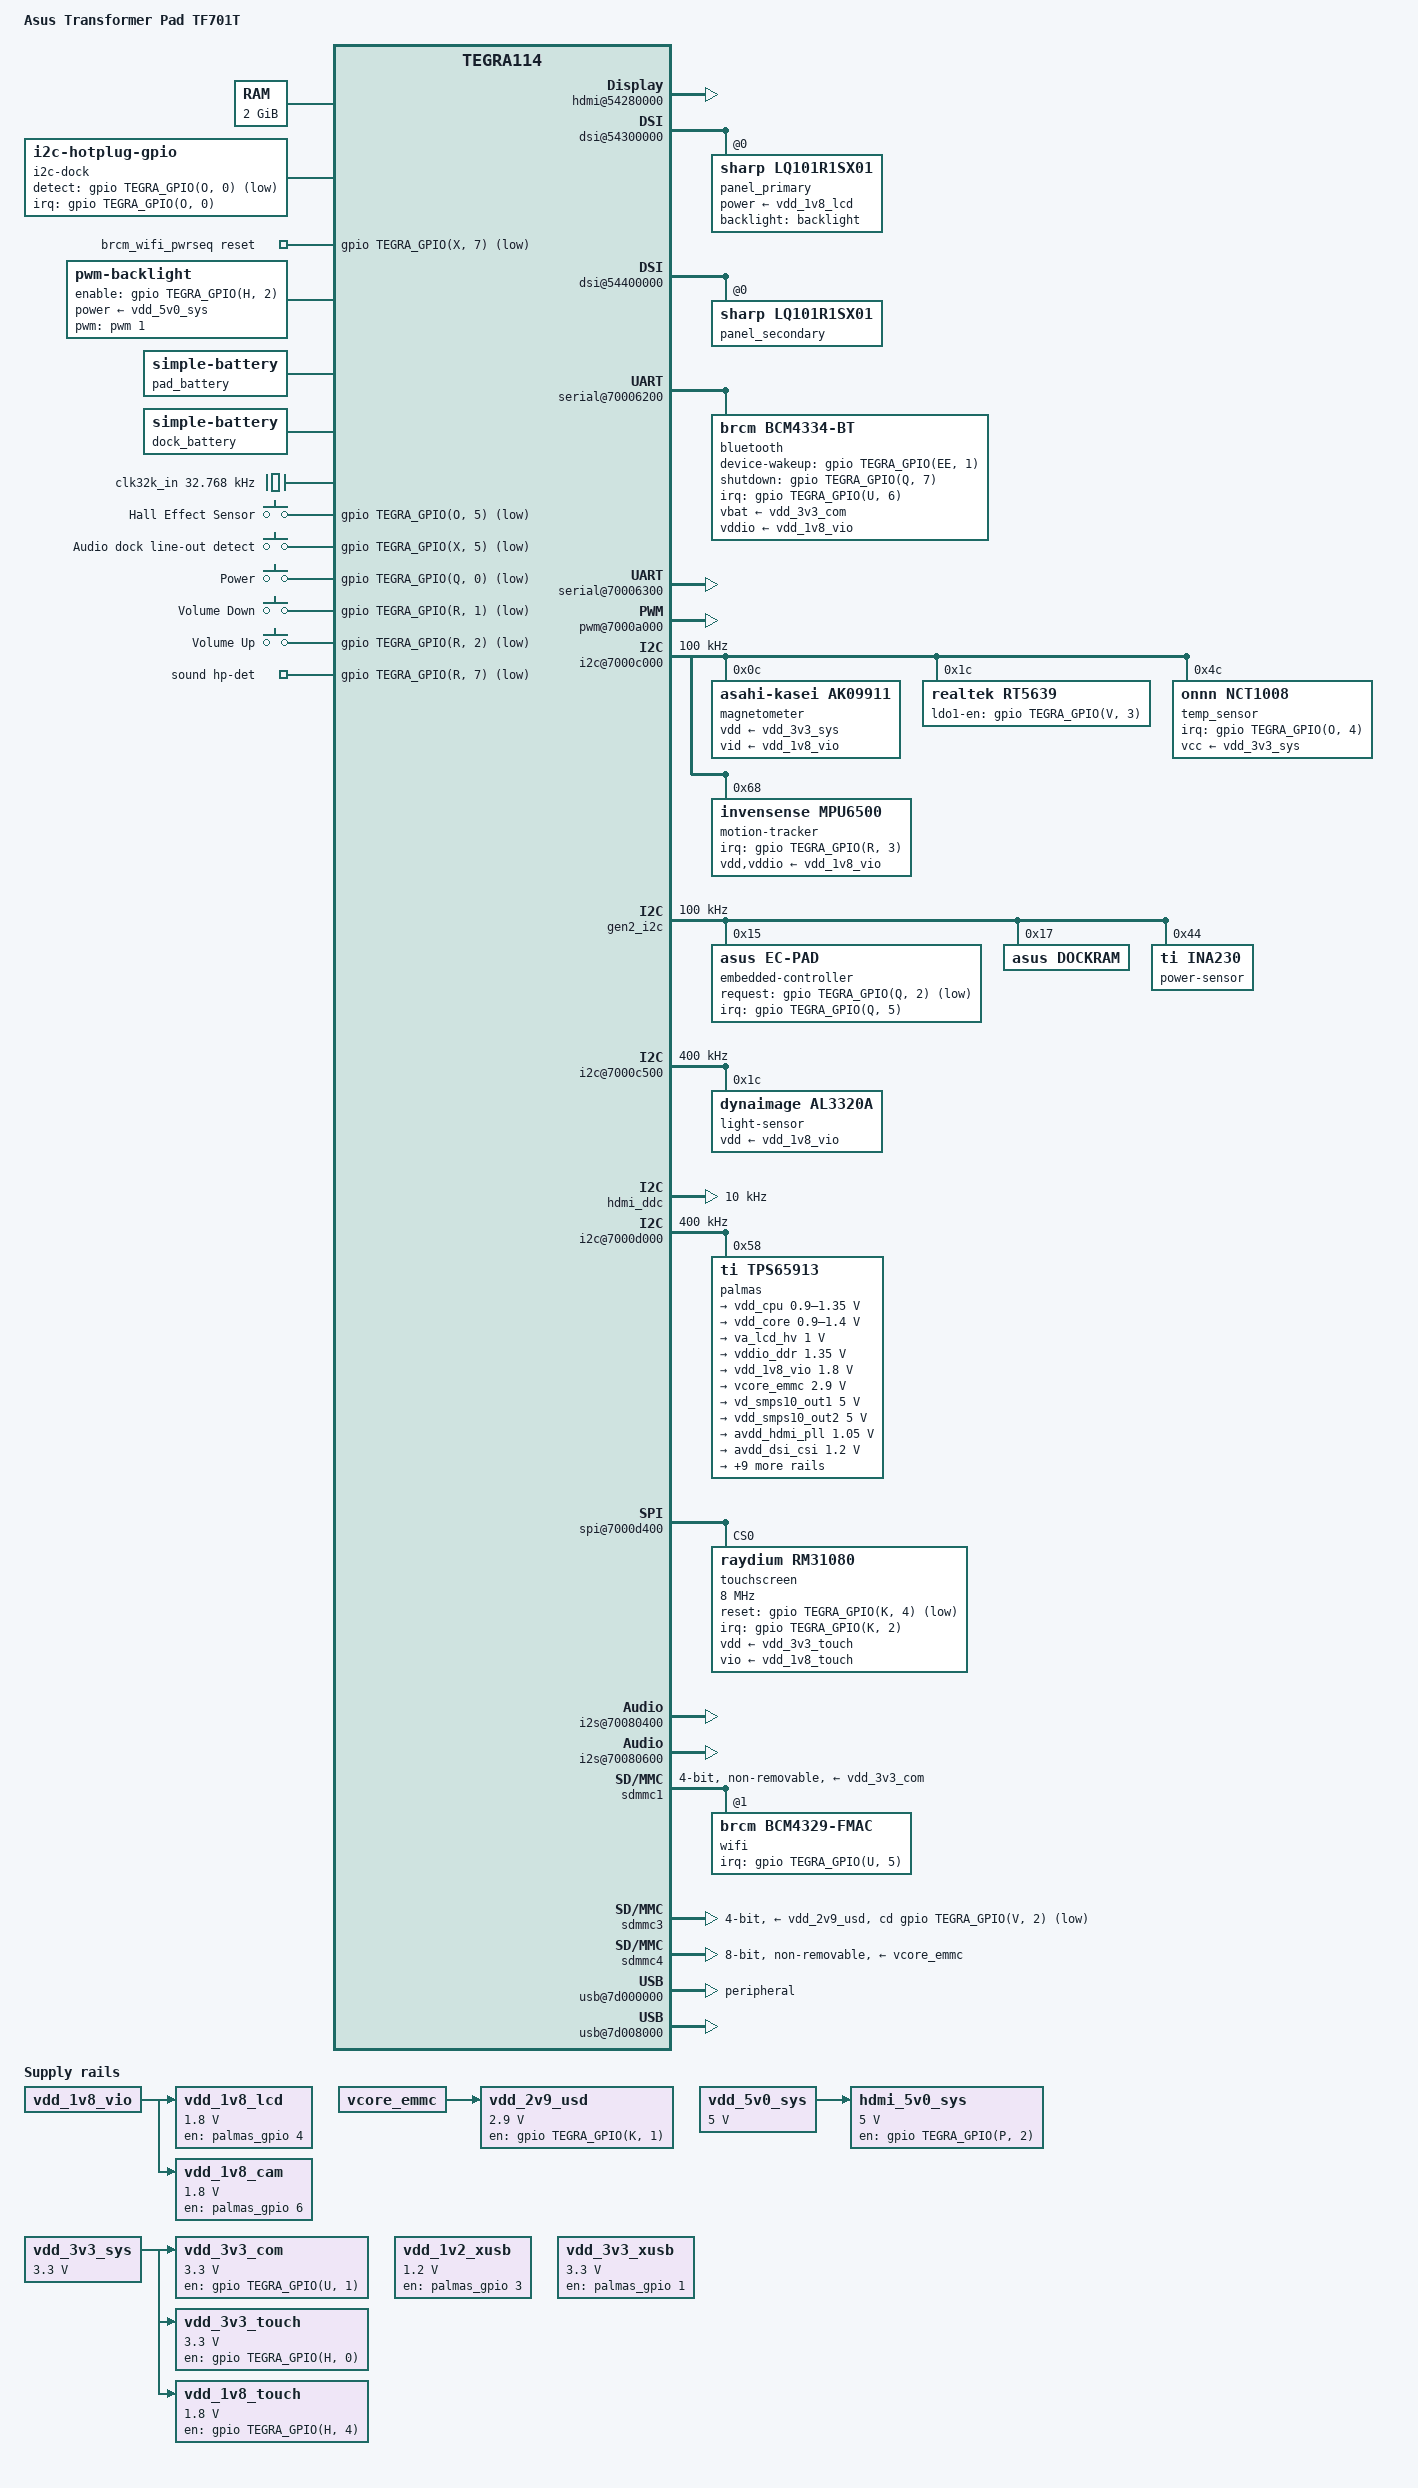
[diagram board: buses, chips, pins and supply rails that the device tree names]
// SPDX-License-Identifier: GPL-2.0

/dts-v1/;

#include <dt-bindings/input/gpio-keys.h>
#include <dt-bindings/input/input.h>

#include "tegra114.dtsi"

/ {
	model = "Asus Transformer Pad TF701T";
	compatible = "asus,tf701t", "nvidia,tegra114";
	chassis-type = "convertible";

	aliases {
		mmc0 = "/mmc@78000600"; /* eMMC */
		mmc1 = "/mmc@78000400"; /* uSD slot */
		mmc2 = "/mmc@78000000"; /* WiFi */

		rtc0 = &palmas;
		rtc1 = "/rtc@7000e000";

		serial0 = &uartd; /* Console */
		serial1 = &uartc; /* Bluetooth */
		serial2 = &uartb; /* GPS */
	};

	/*
	 * The decompressor and also some bootloaders rely on a
	 * pre-existing /chosen node to be available to insert the
	 * command line and merge other ATAGS info.
	 */
	chosen {};

	firmware {
		trusted-foundations {
			compatible = "tlm,trusted-foundations";
			tlm,version-major = <2>;
			tlm,version-minor = <8>;
		};
	};

	memory@80000000 {
		reg = <0x80000000 0x80000000>;
	};

	reserved-memory {
		#address-cells = <1>;
		#size-cells = <1>;
		ranges;

		linux,cma@80000000 {
			compatible = "shared-dma-pool";
			alloc-ranges = <0x80000000 0x30000000>;
			size = <0x10000000>;
			linux,cma-default;
			reusable;
		};

		trustzone@bfe00000 {
			reg = <0xbfe00000 0x200000>;
			no-map;
		};
	};

	host1x@50000000 {
		hdmi@54280000 {
			status = "okay";

			hdmi-supply = <&hdmi_5v0_sys>;
			pll-supply = <&avdd_hdmi_pll>;
			vdd-supply = <&avdd_hdmi>;

			nvidia,ddc-i2c-bus = <&hdmi_ddc>;
			nvidia,hpd-gpio =
				<&gpio TEGRA_GPIO(N, 7) GPIO_ACTIVE_HIGH>;
		};

		dsi@54300000 {
			status = "okay";

			avdd-dsi-csi-supply = <&avdd_dsi_csi>;

			nvidia,ganged-mode = <&dsib>;

			panel_primary: panel@0 {
				compatible = "sharp,lq101r1sx01";
				reg = <0>;

				link2 = <&panel_secondary>;

				power-supply = <&vdd_1v8_lcd>;
				backlight = <&backlight>;
			};
		};

		dsi@54400000 {
			status = "okay";

			avdd-dsi-csi-supply = <&avdd_dsi_csi>;

			panel_secondary: panel@0 {
				compatible = "sharp,lq101r1sx01";
				reg = <0>;
			};
		};
	};

	vde@6001a000 {
		assigned-clocks = <&tegra_car TEGRA114_CLK_VDE>;
		assigned-clock-parents = <&tegra_car TEGRA114_CLK_PLL_P>;
		assigned-clock-rates = <408000000>;
	};

	pinmux@70000868 {
		pinctrl-names = "default";
		pinctrl-0 = <&state_default>;

		state_default: pinmux {
			/* WLAN SDIO pinmux */
			sdmmc1_clk {
				nvidia,pins = "sdmmc1_clk_pz0";
				nvidia,function = "sdmmc1";
				nvidia,pull = <TEGRA_PIN_PULL_NONE>;
				nvidia,tristate = <TEGRA_PIN_DISABLE>;
				nvidia,enable-input = <TEGRA_PIN_ENABLE>;
			};
			sdmmc1_cmd {
				nvidia,pins = "sdmmc1_cmd_pz1",
						"sdmmc1_dat0_py7",
						"sdmmc1_dat1_py6",
						"sdmmc1_dat2_py5",
						"sdmmc1_dat3_py4";
				nvidia,function = "sdmmc1";
				nvidia,pull = <TEGRA_PIN_PULL_UP>;
				nvidia,tristate = <TEGRA_PIN_DISABLE>;
				nvidia,enable-input = <TEGRA_PIN_ENABLE>;
			};
			wlan_power {
				nvidia,pins = "clk2_req_pcc5";
				nvidia,function = "rsvd2";
				nvidia,pull = <TEGRA_PIN_PULL_NONE>;
				nvidia,tristate = <TEGRA_PIN_DISABLE>;
				nvidia,enable-input = <TEGRA_PIN_DISABLE>;
			};
			wlan_reset {
				nvidia,pins = "gpio_x7_aud_px7";
				nvidia,function = "rsvd1";
				nvidia,pull = <TEGRA_PIN_PULL_NONE>;
				nvidia,tristate = <TEGRA_PIN_DISABLE>;
				nvidia,enable-input = <TEGRA_PIN_DISABLE>;
			};
			wlan_host_wake {
				nvidia,pins = "pu5";
				nvidia,function = "pwm2";
				nvidia,pull = <TEGRA_PIN_PULL_NONE>;
				nvidia,tristate = <TEGRA_PIN_DISABLE>;
				nvidia,enable-input = <TEGRA_PIN_ENABLE>;
			};
			wlan_3v3_com {
				nvidia,pins = "pu1";
				nvidia,function = "rsvd1";
				nvidia,pull = <TEGRA_PIN_PULL_NONE>;
				nvidia,tristate = <TEGRA_PIN_DISABLE>;
				nvidia,enable-input = <TEGRA_PIN_DISABLE>;
			};

			/* UART-A pinmux */
			uarta_cts {
				nvidia,pins = "kb_row10_ps2";
				nvidia,function = "uarta";
				nvidia,pull = <TEGRA_PIN_PULL_DOWN>;
				nvidia,tristate = <TEGRA_PIN_DISABLE>;
				nvidia,enable-input = <TEGRA_PIN_ENABLE>;
			};
			uarta_rts {
				nvidia,pins = "kb_row9_ps1";
				nvidia,function = "uarta";
				nvidia,pull = <TEGRA_PIN_PULL_NONE>;
				nvidia,tristate = <TEGRA_PIN_DISABLE>;
				nvidia,enable-input = <TEGRA_PIN_DISABLE>;
			};

			/* GNSS UART-B pinmux */
			uartb_cts {
				nvidia,pins = "uart2_cts_n_pj5";
				nvidia,function = "uartb";
				nvidia,pull = <TEGRA_PIN_PULL_UP>;
				nvidia,tristate = <TEGRA_PIN_DISABLE>;
				nvidia,enable-input = <TEGRA_PIN_ENABLE>;
			};
			uartb_rts {
				nvidia,pins = "uart2_rts_n_pj6";
				nvidia,function = "uartb";
				nvidia,pull = <TEGRA_PIN_PULL_NONE>;
				nvidia,tristate = <TEGRA_PIN_DISABLE>;
				nvidia,enable-input = <TEGRA_PIN_DISABLE>;
			};
			uartb_rxd {
				nvidia,pins = "uart2_rxd_pc3";
				nvidia,function = "irda";
				nvidia,pull = <TEGRA_PIN_PULL_UP>;
				nvidia,tristate = <TEGRA_PIN_DISABLE>;
				nvidia,enable-input = <TEGRA_PIN_ENABLE>;
			};
			uartb_txd {
				nvidia,pins = "uart2_txd_pc2";
				nvidia,function = "irda";
				nvidia,pull = <TEGRA_PIN_PULL_NONE>;
				nvidia,tristate = <TEGRA_PIN_DISABLE>;
				nvidia,enable-input = <TEGRA_PIN_DISABLE>;
			};

			/* Bluetooth UART-C pinmux */
			uartc_cts_rxd {
				nvidia,pins = "uart3_cts_n_pa1",
						"uart3_rxd_pw7";
				nvidia,function = "uartc";
				nvidia,pull = <TEGRA_PIN_PULL_UP>;
				nvidia,tristate = <TEGRA_PIN_DISABLE>;
				nvidia,enable-input = <TEGRA_PIN_ENABLE>;
			};
			uartc_rts_txd {
				nvidia,pins = "uart3_rts_n_pc0",
						"uart3_txd_pw6";
				nvidia,function = "uartc";
				nvidia,pull = <TEGRA_PIN_PULL_NONE>;
				nvidia,tristate = <TEGRA_PIN_DISABLE>;
				nvidia,enable-input = <TEGRA_PIN_DISABLE>;
			};
			bt_shutdown {
				nvidia,pins = "kb_col6_pq6",
						"kb_col7_pq7";
				nvidia,function = "rsvd2";
				nvidia,pull = <TEGRA_PIN_PULL_NONE>;
				nvidia,tristate = <TEGRA_PIN_DISABLE>;
				nvidia,enable-input = <TEGRA_PIN_DISABLE>;
			};
			bt_dev_wake {
				nvidia,pins = "clk3_req_pee1";
				nvidia,function = "rsvd2";
				nvidia,pull = <TEGRA_PIN_PULL_NONE>;
				nvidia,tristate = <TEGRA_PIN_DISABLE>;
				nvidia,enable-input = <TEGRA_PIN_DISABLE>;
			};
			bt_host_wake {
				nvidia,pins = "pu6";
				nvidia,function = "pwm3";
				nvidia,pull = <TEGRA_PIN_PULL_NONE>;
				nvidia,tristate = <TEGRA_PIN_DISABLE>;
				nvidia,enable-input = <TEGRA_PIN_ENABLE>;
			};
			bt_pcm_dap4_out {
				nvidia,pins = "dap4_fs_pp4",
						"dap4_dout_pp6",
						"dap4_sclk_pp7";
				nvidia,function = "i2s3";
				nvidia,pull = <TEGRA_PIN_PULL_NONE>;
				nvidia,tristate = <TEGRA_PIN_DISABLE>;
				nvidia,enable-input = <TEGRA_PIN_DISABLE>;
			};
			bt_pcm_dap4_in {
				nvidia,pins = "dap4_din_pp5";
				nvidia,function = "i2s3";
				nvidia,pull = <TEGRA_PIN_PULL_NONE>;
				nvidia,tristate = <TEGRA_PIN_DISABLE>;
				nvidia,enable-input = <TEGRA_PIN_ENABLE>;
			};

			/* UART-D pinmux */
			uartd_cts {
				nvidia,pins = "gmi_a17_pb0";
				nvidia,function = "uartd";
				nvidia,pull = <TEGRA_PIN_PULL_NONE>;
				nvidia,tristate = <TEGRA_PIN_DISABLE>;
				nvidia,enable-input = <TEGRA_PIN_ENABLE>;
			};
			uartd_rts {
				nvidia,pins = "gmi_a16_pj7",
						"gmi_a19_pk7";
				nvidia,function = "uartd";
				nvidia,pull = <TEGRA_PIN_PULL_NONE>;
				nvidia,tristate = <TEGRA_PIN_DISABLE>;
				nvidia,enable-input = <TEGRA_PIN_DISABLE>;
			};

			/* MicroSD pinmux */
			sdmmc3_clk {
				nvidia,pins = "sdmmc3_clk_pa6";
				nvidia,function = "sdmmc3";
				nvidia,pull = <TEGRA_PIN_PULL_NONE>;
				nvidia,tristate = <TEGRA_PIN_DISABLE>;
				nvidia,enable-input = <TEGRA_PIN_ENABLE>;
			};
			sdmmc3_data {
				nvidia,pins = "sdmmc3_cmd_pa7",
						"sdmmc3_dat0_pb7",
						"sdmmc3_dat1_pb6",
						"sdmmc3_dat2_pb5",
						"sdmmc3_dat3_pb4",
						"kb_col4_pq4",
						"sdmmc3_cd_n_pv2",
						"sdmmc3_clk_lb_out_pee4",
						"sdmmc3_clk_lb_in_pee5";
				nvidia,function = "sdmmc3";
				nvidia,pull = <TEGRA_PIN_PULL_UP>;
				nvidia,tristate = <TEGRA_PIN_DISABLE>;
				nvidia,enable-input = <TEGRA_PIN_ENABLE>;
			};
			microsd_pwr {
				nvidia,pins = "gmi_clk_pk1";
				nvidia,function = "gmi";
				nvidia,pull = <TEGRA_PIN_PULL_NONE>;
				nvidia,tristate = <TEGRA_PIN_DISABLE>;
				nvidia,enable-input = <TEGRA_PIN_DISABLE>;
			};

			/* EMMC pinmux */
			sdmmc4_clk_cmd {
				nvidia,pins = "sdmmc4_clk_pcc4";
				nvidia,function = "sdmmc4";
				nvidia,pull = <TEGRA_PIN_PULL_NONE>;
				nvidia,tristate = <TEGRA_PIN_DISABLE>;
				nvidia,enable-input = <TEGRA_PIN_ENABLE>;
			};
			sdmmc4_data {
				nvidia,pins = "sdmmc4_cmd_pt7",
						"sdmmc4_dat0_paa0",
						"sdmmc4_dat1_paa1",
						"sdmmc4_dat2_paa2",
						"sdmmc4_dat3_paa3",
						"sdmmc4_dat4_paa4",
						"sdmmc4_dat5_paa5",
						"sdmmc4_dat6_paa6",
						"sdmmc4_dat7_paa7";
				nvidia,function = "sdmmc4";
				nvidia,pull = <TEGRA_PIN_PULL_UP>;
				nvidia,tristate = <TEGRA_PIN_DISABLE>;
				nvidia,enable-input = <TEGRA_PIN_ENABLE>;
			};

			/* I2C pinmux */
			gen1_i2c {
				nvidia,pins = "gen1_i2c_scl_pc4",
						"gen1_i2c_sda_pc5";
				nvidia,function = "i2c1";
				nvidia,pull = <TEGRA_PIN_PULL_NONE>;
				nvidia,tristate = <TEGRA_PIN_DISABLE>;
				nvidia,enable-input = <TEGRA_PIN_ENABLE>;
				nvidia,open-drain = <TEGRA_PIN_ENABLE>;
				nvidia,lock = <TEGRA_PIN_DISABLE>;
			};

			gen2_i2c {
				nvidia,pins = "gen2_i2c_scl_pt5",
						"gen2_i2c_sda_pt6";
				nvidia,function = "i2c2";
				nvidia,pull = <TEGRA_PIN_PULL_NONE>;
				nvidia,tristate = <TEGRA_PIN_DISABLE>;
				nvidia,enable-input = <TEGRA_PIN_ENABLE>;
				nvidia,open-drain = <TEGRA_PIN_ENABLE>;
				nvidia,lock = <TEGRA_PIN_DISABLE>;
			};

			cam_i2c {
				nvidia,pins = "cam_i2c_scl_pbb1",
						"cam_i2c_sda_pbb2";
				nvidia,function = "i2c3";
				nvidia,pull = <TEGRA_PIN_PULL_NONE>;
				nvidia,tristate = <TEGRA_PIN_DISABLE>;
				nvidia,enable-input = <TEGRA_PIN_ENABLE>;
				nvidia,open-drain = <TEGRA_PIN_ENABLE>;
				nvidia,lock = <TEGRA_PIN_DISABLE>;
			};

			ddc_i2c {
				nvidia,pins = "ddc_scl_pv4",
						"ddc_sda_pv5";
				nvidia,function = "i2c4";
				nvidia,pull = <TEGRA_PIN_PULL_NONE>;
				nvidia,tristate = <TEGRA_PIN_DISABLE>;
				nvidia,enable-input = <TEGRA_PIN_ENABLE>;
				nvidia,lock = <TEGRA_PIN_DISABLE>;
			};

			pwr_i2c {
				nvidia,pins = "pwr_i2c_scl_pz6",
						"pwr_i2c_sda_pz7";
				nvidia,function = "i2cpwr";
				nvidia,pull = <TEGRA_PIN_PULL_NONE>;
				nvidia,tristate = <TEGRA_PIN_DISABLE>;
				nvidia,enable-input = <TEGRA_PIN_ENABLE>;
				nvidia,open-drain = <TEGRA_PIN_ENABLE>;
				nvidia,lock = <TEGRA_PIN_DISABLE>;
			};

			/* SPI1 pinmux */
			spi1_out {
				nvidia,pins = "ulpi_clk_py0",
						"ulpi_nxt_py2",
						"ulpi_stp_py3";
				nvidia,function = "spi1";
				nvidia,pull = <TEGRA_PIN_PULL_NONE>;
				nvidia,tristate = <TEGRA_PIN_DISABLE>;
				nvidia,enable-input = <TEGRA_PIN_DISABLE>;
			};
			spi1_in {
				nvidia,pins = "ulpi_dir_py1";
				nvidia,function = "spi1";
				nvidia,pull = <TEGRA_PIN_PULL_NONE>;
				nvidia,tristate = <TEGRA_PIN_DISABLE>;
				nvidia,enable-input = <TEGRA_PIN_ENABLE>;
			};

			/* SPI2 pinmux */
			spi2 {
				nvidia,pins = "ulpi_data4_po5",
						"ulpi_data7_po0";
				nvidia,function = "spi2";
				nvidia,pull = <TEGRA_PIN_PULL_UP>;
				nvidia,tristate = <TEGRA_PIN_DISABLE>;
				nvidia,enable-input = <TEGRA_PIN_ENABLE>;
			};

			/* SPI4 pinmux */
			spi4_out {
				nvidia,pins = "gmi_ad6_pg6",
						"gmi_wr_n_pi0";
				nvidia,function = "spi4";
				nvidia,pull = <TEGRA_PIN_PULL_NONE>;
				nvidia,tristate = <TEGRA_PIN_DISABLE>;
				nvidia,enable-input = <TEGRA_PIN_DISABLE>;
			};
			spi4_in {
				nvidia,pins = "gmi_ad5_pg5",
						"gmi_ad7_pg7";
				nvidia,function = "spi4";
				nvidia,pull = <TEGRA_PIN_PULL_NONE>;
				nvidia,tristate = <TEGRA_PIN_DISABLE>;
				nvidia,enable-input = <TEGRA_PIN_ENABLE>;
			};

			/* GPIO keys pinmux */
			hall_switch {
				nvidia,pins = "ulpi_data4_po5";
				nvidia,function = "spi2";
				nvidia,pull = <TEGRA_PIN_PULL_UP>;
				nvidia,tristate = <TEGRA_PIN_DISABLE>;
				nvidia,enable-input = <TEGRA_PIN_ENABLE>;
			};
			lineout_switch {
				nvidia,pins = "gpio_x5_aud_px5";
				nvidia,function = "rsvd1";
				nvidia,pull = <TEGRA_PIN_PULL_UP>;
				nvidia,tristate = <TEGRA_PIN_DISABLE>;
				nvidia,enable-input = <TEGRA_PIN_ENABLE>;
			};
			power_key {
				nvidia,pins = "kb_col0_pq0";
				nvidia,function = "kbc";
				nvidia,pull = <TEGRA_PIN_PULL_UP>;
				nvidia,tristate = <TEGRA_PIN_ENABLE>;
				nvidia,enable-input = <TEGRA_PIN_ENABLE>;
			};
			volume_keys {
				nvidia,pins = "kb_row1_pr1",
						"kb_row2_pr2";
				nvidia,function = "rsvd2";
				nvidia,pull = <TEGRA_PIN_PULL_UP>;
				nvidia,tristate = <TEGRA_PIN_ENABLE>;
				nvidia,enable-input = <TEGRA_PIN_ENABLE>;
			};

			/* Sensors pinmux */
			nct_irq {
				nvidia,pins = "ulpi_data3_po4";
				nvidia,function = "ulpi";
				nvidia,pull = <TEGRA_PIN_PULL_UP>;
				nvidia,tristate = <TEGRA_PIN_DISABLE>;
				nvidia,enable-input = <TEGRA_PIN_ENABLE>;
			};
			mpu_irq {
				nvidia,pins = "kb_row3_pr3";
				nvidia,function = "rsvd3";
				nvidia,pull = <TEGRA_PIN_PULL_DOWN>;
				nvidia,tristate = <TEGRA_PIN_DISABLE>;
				nvidia,enable-input = <TEGRA_PIN_ENABLE>;
			};

			/* HDMI pinmux */
			hdmi_hpd {
				nvidia,pins = "hdmi_int_pn7";
				nvidia,function = "rsvd1";
				nvidia,pull = <TEGRA_PIN_PULL_DOWN>;
				nvidia,tristate = <TEGRA_PIN_DISABLE>;
				nvidia,enable-input = <TEGRA_PIN_ENABLE>;
			};
			hdmi_en {
				nvidia,pins = "dap3_dout_pp2";
				nvidia,function = "i2s2";
				nvidia,pull = <TEGRA_PIN_PULL_NONE>;
				nvidia,tristate = <TEGRA_PIN_DISABLE>;
				nvidia,enable-input = <TEGRA_PIN_DISABLE>;
			};
			hdmi_cec {
				nvidia,pins = "hdmi_cec_pee3";
				nvidia,function = "cec";
				nvidia,pull = <TEGRA_PIN_PULL_NONE>;
				nvidia,tristate = <TEGRA_PIN_DISABLE>;
				nvidia,enable-input = <TEGRA_PIN_ENABLE>;
			};

			/* LED pinmux */
			backlight_pwm {
				nvidia,pins = "gmi_ad9_ph1";
				nvidia,function = "pwm1";
				nvidia,pull = <TEGRA_PIN_PULL_NONE>;
				nvidia,tristate = <TEGRA_PIN_DISABLE>;
				nvidia,enable-input = <TEGRA_PIN_DISABLE>;
			};
			backlight_en {
				nvidia,pins = "gmi_ad10_ph2";
				nvidia,function = "gmi";
				nvidia,pull = <TEGRA_PIN_PULL_NONE>;
				nvidia,tristate = <TEGRA_PIN_DISABLE>;
				nvidia,enable-input = <TEGRA_PIN_DISABLE>;
			};

			/* Touchscreen pinmux */
			touch_irq {
				nvidia,pins = "gmi_cs4_n_pk2";
				nvidia,function = "gmi";
				nvidia,pull = <TEGRA_PIN_PULL_NONE>;
				nvidia,tristate = <TEGRA_PIN_DISABLE>;
				nvidia,enable-input = <TEGRA_PIN_ENABLE>;
			};
			touch_rst {
				nvidia,pins = "gmi_cs3_n_pk4";
				nvidia,function = "gmi";
				nvidia,pull = <TEGRA_PIN_PULL_NONE>;
				nvidia,tristate = <TEGRA_PIN_DISABLE>;
				nvidia,enable-input = <TEGRA_PIN_DISABLE>;
			};
			touch_pwr {
				nvidia,pins = "gmi_ad8_ph0";
				nvidia,function = "gmi";
				nvidia,pull = <TEGRA_PIN_PULL_NONE>;
				nvidia,tristate = <TEGRA_PIN_DISABLE>;
				nvidia,enable-input = <TEGRA_PIN_DISABLE>;
			};
			touch_vio {
				nvidia,pins = "gmi_ad12_ph4";
				nvidia,function = "rsvd4";
				nvidia,pull = <TEGRA_PIN_PULL_NONE>;
				nvidia,tristate = <TEGRA_PIN_DISABLE>;
				nvidia,enable-input = <TEGRA_PIN_DISABLE>;
			};

			/* AUDIO pinmux */
			audio_ldo1 {
				nvidia,pins = "sdmmc1_wp_n_pv3";
				nvidia,function = "sdmmc1";
				nvidia,pull = <TEGRA_PIN_PULL_NONE>;
				nvidia,tristate = <TEGRA_PIN_DISABLE>;
				nvidia,enable-input = <TEGRA_PIN_DISABLE>;
			};
			hp_detect {
				nvidia,pins = "kb_row7_pr7";
				nvidia,function = "rsvd2";
				nvidia,pull = <TEGRA_PIN_PULL_UP>;
				nvidia,tristate = <TEGRA_PIN_DISABLE>;
				nvidia,enable-input = <TEGRA_PIN_ENABLE>;
			};
			dap_i2s0_in {
				nvidia,pins = "dap1_din_pn1";
				nvidia,function = "i2s0";
				nvidia,pull = <TEGRA_PIN_PULL_NONE>;
				nvidia,tristate = <TEGRA_PIN_DISABLE>;
				nvidia,enable-input = <TEGRA_PIN_ENABLE>;
			};
			dap_i2s0_out {
				nvidia,pins = "dap1_dout_pn2",
						"dap1_fs_pn0",
						"dap1_sclk_pn3";
				nvidia,function = "i2s0";
				nvidia,pull = <TEGRA_PIN_PULL_NONE>;
				nvidia,tristate = <TEGRA_PIN_DISABLE>;
				nvidia,enable-input = <TEGRA_PIN_DISABLE>;
			};
			dap_i2s1_in {
				nvidia,pins = "dap2_din_pa4";
				nvidia,function = "i2s1";
				nvidia,pull = <TEGRA_PIN_PULL_NONE>;
				nvidia,tristate = <TEGRA_PIN_DISABLE>;
				nvidia,enable-input = <TEGRA_PIN_ENABLE>;
			};
			dap_i2s1_out {
				nvidia,pins = "dap2_dout_pa5",
						"dap2_fs_pa2",
						"dap2_sclk_pa3";
				nvidia,function = "i2s1";
				nvidia,pull = <TEGRA_PIN_PULL_NONE>;
				nvidia,tristate = <TEGRA_PIN_DISABLE>;
				nvidia,enable-input = <TEGRA_PIN_DISABLE>;
			};

			dap_i2s2_in {
				nvidia,pins = "dap3_fs_pp0",
						"dap3_sclk_pp3";
				nvidia,function = "i2s2";
				nvidia,pull = <TEGRA_PIN_PULL_NONE>;
				nvidia,tristate = <TEGRA_PIN_ENABLE>;
				nvidia,enable-input = <TEGRA_PIN_ENABLE>;
			};
			dap_i2s2_out {
				nvidia,pins = "dap3_din_pp1";
				nvidia,function = "i2s2";
				nvidia,pull = <TEGRA_PIN_PULL_NONE>;
				nvidia,tristate = <TEGRA_PIN_DISABLE>;
				nvidia,enable-input = <TEGRA_PIN_DISABLE>;
			};

			spdif_in {
				nvidia,pins = "spdif_in_pk6";
				nvidia,function = "rsvd3";
				nvidia,pull = <TEGRA_PIN_PULL_UP>;
				nvidia,tristate = <TEGRA_PIN_DISABLE>;
				nvidia,enable-input = <TEGRA_PIN_DISABLE>;
			};
			spdif_out {
				nvidia,pins = "spdif_out_pk5";
				nvidia,function = "rsvd2";
				nvidia,pull = <TEGRA_PIN_PULL_DOWN>;
				nvidia,tristate = <TEGRA_PIN_ENABLE>;
				nvidia,enable-input = <TEGRA_PIN_DISABLE>;
			};

			/* AsusEC pinmux */
			ec_irq {
				nvidia,pins = "kb_col5_pq5";
				nvidia,function = "kbc";
				nvidia,pull = <TEGRA_PIN_PULL_UP>;
				nvidia,tristate = <TEGRA_PIN_DISABLE>;
				nvidia,enable-input = <TEGRA_PIN_ENABLE>;
			};
			ec_req {
				nvidia,pins = "kb_col2_pq2";
				nvidia,function = "kbc";
				nvidia,pull = <TEGRA_PIN_PULL_UP>;
				nvidia,tristate = <TEGRA_PIN_DISABLE>;
				nvidia,enable-input = <TEGRA_PIN_DISABLE>;
			};
			hotplug_i2c {
				nvidia,pins = "ulpi_data7_po0";
				nvidia,function = "spi2";
				nvidia,pull = <TEGRA_PIN_PULL_UP>;
				nvidia,tristate = <TEGRA_PIN_DISABLE>;
				nvidia,enable-input = <TEGRA_PIN_ENABLE>;
			};
			ps2_irq {
				nvidia,pins = "gpio_w2_aud_pw2";
				nvidia,function = "spi6";
				nvidia,pull = <TEGRA_PIN_PULL_UP>;
				nvidia,tristate = <TEGRA_PIN_DISABLE>;
				nvidia,enable-input = <TEGRA_PIN_ENABLE>;
			};
			kbd_irq {
				nvidia,pins = "gmi_cs0_n_pj0";
				nvidia,function = "rsvd1";
				nvidia,pull = <TEGRA_PIN_PULL_UP>;
				nvidia,tristate = <TEGRA_PIN_DISABLE>;
				nvidia,enable-input = <TEGRA_PIN_ENABLE>;
			};

			dvfs_pin {
				nvidia,pins = "dvfs_pwm_px0",
						"dvfs_clk_px2";
				nvidia,function = "cldvfs";
				nvidia,pull = <TEGRA_PIN_PULL_NONE>;
				nvidia,tristate = <TEGRA_PIN_DISABLE>;
				nvidia,enable-input = <TEGRA_PIN_DISABLE>;
			};

			/* Core pinmux */
			clk_32k_out {
				nvidia,pins = "clk_32k_out_pa0";
				nvidia,function = "soc";
				nvidia,pull = <TEGRA_PIN_PULL_UP>;
				nvidia,tristate = <TEGRA_PIN_DISABLE>;
				nvidia,enable-input = <TEGRA_PIN_ENABLE>;
			};
			sys_clk_req {
				nvidia,pins = "sys_clk_req_pz5";
				nvidia,function = "sysclk";
				nvidia,pull = <TEGRA_PIN_PULL_NONE>;
				nvidia,tristate = <TEGRA_PIN_DISABLE>;
				nvidia,enable-input = <TEGRA_PIN_DISABLE>;
			};
			core_pwr_req {
				nvidia,pins = "core_pwr_req";
				nvidia,function = "pwron";
				nvidia,pull = <TEGRA_PIN_PULL_NONE>;
				nvidia,tristate = <TEGRA_PIN_DISABLE>;
				nvidia,enable-input = <TEGRA_PIN_DISABLE>;
			};
			cpu_pwr_req {
				nvidia,pins = "cpu_pwr_req";
				nvidia,function = "cpu";
				nvidia,pull = <TEGRA_PIN_PULL_NONE>;
				nvidia,tristate = <TEGRA_PIN_DISABLE>;
				nvidia,enable-input = <TEGRA_PIN_DISABLE>;
			};
			pwr_int_n {
				nvidia,pins = "pwr_int_n";
				nvidia,function = "pmi";
				nvidia,pull = <TEGRA_PIN_PULL_UP>;
				nvidia,tristate = <TEGRA_PIN_DISABLE>;
				nvidia,enable-input = <TEGRA_PIN_ENABLE>;
			};
			clk_32k_in {
				nvidia,pins = "clk_32k_in";
				nvidia,function = "clk";
				nvidia,pull = <TEGRA_PIN_PULL_NONE>;
				nvidia,tristate = <TEGRA_PIN_DISABLE>;
				nvidia,enable-input = <TEGRA_PIN_ENABLE>;
			};
			owr {
				nvidia,pins = "owr";
				nvidia,function = "rsvd2";
				nvidia,pull = <TEGRA_PIN_PULL_DOWN>;
				nvidia,tristate = <TEGRA_PIN_ENABLE>;
				nvidia,enable-input = <TEGRA_PIN_DISABLE>;
			};
			reset_out_n {
				nvidia,pins = "reset_out_n";
				nvidia,function = "reset_out_n";
				nvidia,pull = <TEGRA_PIN_PULL_NONE>;
				nvidia,tristate = <TEGRA_PIN_DISABLE>;
				nvidia,enable-input = <TEGRA_PIN_DISABLE>;
			};

			/* ULPI pinmux */
			ulpi_data0_6 {
				nvidia,pins = "ulpi_data0_po1",
						"ulpi_data6_po7";
				nvidia,function = "ulpi";
				nvidia,pull = <TEGRA_PIN_PULL_NONE>;
				nvidia,tristate = <TEGRA_PIN_DISABLE>;
				nvidia,enable-input = <TEGRA_PIN_ENABLE>;
			};
			ulpi_data1_5 {
				nvidia,pins = "ulpi_data1_po2",
						"ulpi_data5_po6";
				nvidia,function = "ulpi";
				nvidia,pull = <TEGRA_PIN_PULL_NONE>;
				nvidia,tristate = <TEGRA_PIN_ENABLE>;
				nvidia,enable-input = <TEGRA_PIN_ENABLE>;
			};
			ulpi_data2_3 {
				nvidia,pins = "ulpi_data2_po3",
						"ulpi_data3_po4";
				nvidia,function = "ulpi";
				nvidia,pull = <TEGRA_PIN_PULL_UP>;
				nvidia,tristate = <TEGRA_PIN_DISABLE>;
				nvidia,enable-input = <TEGRA_PIN_ENABLE>;
			};

			/* PV gpio pinmux */
			pv0_gpio {
				nvidia,pins = "pv0";
				nvidia,function = "rsvd2";
				nvidia,pull = <TEGRA_PIN_PULL_UP>;
				nvidia,tristate = <TEGRA_PIN_DISABLE>;
				nvidia,enable-input = <TEGRA_PIN_ENABLE>;
			};
			pv1_gpio {
				nvidia,pins = "pv1";
				nvidia,function = "rsvd1";
				nvidia,pull = <TEGRA_PIN_PULL_UP>;
				nvidia,tristate = <TEGRA_PIN_DISABLE>;
				nvidia,enable-input = <TEGRA_PIN_ENABLE>;
			};

			/* PU gpio pinmux */
			pu0_gpio {
				nvidia,pins = "pu0";
				nvidia,function = "rsvd3";
				nvidia,pull = <TEGRA_PIN_PULL_NONE>;
				nvidia,tristate = <TEGRA_PIN_DISABLE>;
				nvidia,enable-input = <TEGRA_PIN_DISABLE>;
			};
			pu2_gpio {
				nvidia,pins = "pu2";
				nvidia,function = "rsvd1";
				nvidia,pull = <TEGRA_PIN_PULL_UP>;
				nvidia,tristate = <TEGRA_PIN_DISABLE>;
				nvidia,enable-input = <TEGRA_PIN_ENABLE>;
			};

			/* PWM pinmux */
			pwm0 {
				nvidia,pins = "pu3";
				nvidia,function = "pwm0";
				nvidia,pull = <TEGRA_PIN_PULL_NONE>;
				nvidia,tristate = <TEGRA_PIN_DISABLE>;
				nvidia,enable-input = <TEGRA_PIN_DISABLE>;
			};
			pwm1 {
				nvidia,pins = "pu4";
				nvidia,function = "pwm1";
				nvidia,pull = <TEGRA_PIN_PULL_NONE>;
				nvidia,tristate = <TEGRA_PIN_DISABLE>;
				nvidia,enable-input = <TEGRA_PIN_DISABLE>;
			};

			/* EXTPERIPH pinmux */
			clk1_out {
				nvidia,pins = "clk1_out_pw4";
				nvidia,function = "extperiph1";
				nvidia,pull = <TEGRA_PIN_PULL_NONE>;
				nvidia,tristate = <TEGRA_PIN_DISABLE>;
				nvidia,enable-input = <TEGRA_PIN_DISABLE>;
			};
			clk2_out {
				nvidia,pins = "clk2_out_pw5";
				nvidia,function = "extperiph2";
				nvidia,pull = <TEGRA_PIN_PULL_NONE>;
				nvidia,tristate = <TEGRA_PIN_DISABLE>;
				nvidia,enable-input = <TEGRA_PIN_DISABLE>;
			};
			clk3_out {
				nvidia,pins = "clk3_out_pee0";
				nvidia,function = "extperiph3";
				nvidia,pull = <TEGRA_PIN_PULL_NONE>;
				nvidia,tristate = <TEGRA_PIN_DISABLE>;
				nvidia,enable-input = <TEGRA_PIN_DISABLE>;
			};

			clk1_req {
				nvidia,pins = "clk1_req_pee2";
				nvidia,function = "rsvd3";
				nvidia,pull = <TEGRA_PIN_PULL_DOWN>;
				nvidia,tristate = <TEGRA_PIN_ENABLE>;
				nvidia,enable-input = <TEGRA_PIN_DISABLE>;
			};

			/* GMI pinmux */
			gmi_wp_n {
				nvidia,pins = "gmi_wp_n_pc7";
				nvidia,function = "rsvd1";
				nvidia,pull = <TEGRA_PIN_PULL_NONE>;
				nvidia,tristate = <TEGRA_PIN_ENABLE>;
				nvidia,enable-input = <TEGRA_PIN_ENABLE>;
			};
			gmi_adv {
				nvidia,pins = "gmi_adv_n_pk0";
				nvidia,function = "rsvd1";
				nvidia,pull = <TEGRA_PIN_PULL_UP>;
				nvidia,tristate = <TEGRA_PIN_DISABLE>;
				nvidia,enable-input = <TEGRA_PIN_ENABLE>;
			};
			gmi_ad0_ad1 {
				nvidia,pins = "gmi_ad0_pg0",
						"gmi_ad1_pg1";
				nvidia,function = "rsvd1";
				nvidia,pull = <TEGRA_PIN_PULL_NONE>;
				nvidia,tristate = <TEGRA_PIN_DISABLE>;
				nvidia,enable-input = <TEGRA_PIN_DISABLE>;
			};
			gmi_ad2_ad3 {
				nvidia,pins = "gmi_ad2_pg2",
						"gmi_ad3_pg3";
				nvidia,function = "rsvd1";
				nvidia,pull = <TEGRA_PIN_PULL_NONE>;
				nvidia,tristate = <TEGRA_PIN_DISABLE>;
				nvidia,enable-input = <TEGRA_PIN_ENABLE>;
			};

			gmi_iordy {
				nvidia,pins = "gmi_iordy_pi5";
				nvidia,function = "rsvd2";
				nvidia,pull = <TEGRA_PIN_PULL_UP>;
				nvidia,tristate = <TEGRA_PIN_DISABLE>;
				nvidia,enable-input = <TEGRA_PIN_ENABLE>;
			};
			gmi_a18 {
				nvidia,pins = "gmi_a18_pb1";
				nvidia,function = "rsvd2";
				nvidia,pull = <TEGRA_PIN_PULL_NONE>;
				nvidia,tristate = <TEGRA_PIN_ENABLE>;
				nvidia,enable-input = <TEGRA_PIN_ENABLE>;
			};

			gmi_wait {
				nvidia,pins = "gmi_wait_pi7";
				nvidia,function = "nand";
				nvidia,pull = <TEGRA_PIN_PULL_NONE>;
				nvidia,tristate = <TEGRA_PIN_DISABLE>;
				nvidia,enable-input = <TEGRA_PIN_DISABLE>;
			};
			gmi_cs6_n {
				nvidia,pins = "gmi_cs6_n_pi3";
				nvidia,function = "nand";
				nvidia,pull = <TEGRA_PIN_PULL_DOWN>;
				nvidia,tristate = <TEGRA_PIN_ENABLE>;
				nvidia,enable-input = <TEGRA_PIN_DISABLE>;
			};
			gmi_cs7_n {
				nvidia,pins = "gmi_cs7_n_pi6";
				nvidia,function = "nand";
				nvidia,pull = <TEGRA_PIN_PULL_NONE>;
				nvidia,tristate = <TEGRA_PIN_DISABLE>;
				nvidia,enable-input = <TEGRA_PIN_ENABLE>;
			};
			gmi_dqs_p {
				nvidia,pins = "gmi_dqs_p_pj3";
				nvidia,function = "nand";
				nvidia,pull = <TEGRA_PIN_PULL_NONE>;
				nvidia,tristate = <TEGRA_PIN_ENABLE>;
				nvidia,enable-input = <TEGRA_PIN_ENABLE>;
			};

			gmi_cs2_ad {
				nvidia,pins = "gmi_cs2_n_pk3",
						"gmi_ad14_ph6",
						"gmi_ad15_ph7";
				nvidia,function = "gmi";
				nvidia,pull = <TEGRA_PIN_PULL_NONE>;
				nvidia,tristate = <TEGRA_PIN_ENABLE>;
				nvidia,enable-input = <TEGRA_PIN_ENABLE>;
			};
			gmi_cs4_clk {
				nvidia,pins = "gmi_cs4_n_pk2",
						"gmi_clk_lb";
				nvidia,function = "gmi";
				nvidia,pull = <TEGRA_PIN_PULL_NONE>;
				nvidia,tristate = <TEGRA_PIN_DISABLE>;
				nvidia,enable-input = <TEGRA_PIN_ENABLE>;
			};
			gmi_ad11 {
				nvidia,pins = "gmi_ad11_ph3";
				nvidia,function = "gmi";
				nvidia,pull = <TEGRA_PIN_PULL_NONE>;
				nvidia,tristate = <TEGRA_PIN_DISABLE>;
				nvidia,enable-input = <TEGRA_PIN_DISABLE>;
			};

			gmi_cs1_oe {
				nvidia,pins = "gmi_cs1_n_pj2",
						"gmi_oe_n_pi1";
				nvidia,function = "soc";
				nvidia,pull = <TEGRA_PIN_PULL_UP>;
				nvidia,tristate = <TEGRA_PIN_DISABLE>;
				nvidia,enable-input = <TEGRA_PIN_ENABLE>;
			};

			gmi_ad4 {
				nvidia,pins = "gmi_ad4_pg4";
				nvidia,function = "rsvd4";
				nvidia,pull = <TEGRA_PIN_PULL_NONE>;
				nvidia,tristate = <TEGRA_PIN_DISABLE>;
				nvidia,enable-input = <TEGRA_PIN_ENABLE>;
			};
			gmi_ad13 {
				nvidia,pins = "gmi_ad13_ph5";
				nvidia,function = "rsvd4";
				nvidia,pull = <TEGRA_PIN_PULL_NONE>;
				nvidia,tristate = <TEGRA_PIN_ENABLE>;
				nvidia,enable-input = <TEGRA_PIN_ENABLE>;
			};
			gmi_rst_n {
				nvidia,pins = "gmi_rst_n_pi4";
				nvidia,function = "rsvd4";
				nvidia,pull = <TEGRA_PIN_PULL_NONE>;
				nvidia,tristate = <TEGRA_PIN_DISABLE>;
				nvidia,enable-input = <TEGRA_PIN_DISABLE>;
			};

			/* PCC gpio pinmux */
			pcc_gpio {
				nvidia,pins = "pcc1", "pcc2";
				nvidia,function = "rsvd2";
				nvidia,pull = <TEGRA_PIN_PULL_DOWN>;
				nvidia,tristate = <TEGRA_PIN_DISABLE>;
				nvidia,enable-input = <TEGRA_PIN_ENABLE>;
			};

			/* PBB gpio pinmux */
			pbb3_gpio {
				nvidia,pins = "pbb3";
				nvidia,function = "rsvd4";
				nvidia,pull = <TEGRA_PIN_PULL_NONE>;
				nvidia,tristate = <TEGRA_PIN_DISABLE>;
				nvidia,enable-input = <TEGRA_PIN_ENABLE>;
			};
			pbb4_5_6_gpio {
				nvidia,pins = "pbb4", "pbb5", "pbb6";
				nvidia,function = "rsvd4";
				nvidia,pull = <TEGRA_PIN_PULL_NONE>;
				nvidia,tristate = <TEGRA_PIN_DISABLE>;
				nvidia,enable-input = <TEGRA_PIN_DISABLE>;
			};
			pbb7_gpio {
				nvidia,pins = "pbb7";
				nvidia,function = "rsvd2";
				nvidia,pull = <TEGRA_PIN_PULL_NONE>;
				nvidia,tristate = <TEGRA_PIN_DISABLE>;
				nvidia,enable-input = <TEGRA_PIN_DISABLE>;
			};

			/* KBC pinmux */
			kb_r0_c1 {
				nvidia,pins = "kb_row0_pr0",
						"kb_col1_pq1";
				nvidia,function = "rsvd2";
				nvidia,pull = <TEGRA_PIN_PULL_UP>;
				nvidia,tristate = <TEGRA_PIN_DISABLE>;
				nvidia,enable-input = <TEGRA_PIN_ENABLE>;
			};
			kb_row4 {
				nvidia,pins = "kb_row4_pr4";
				nvidia,function = "kbc";
				nvidia,pull = <TEGRA_PIN_PULL_NONE>;
				nvidia,tristate = <TEGRA_PIN_ENABLE>;
				nvidia,enable-input = <TEGRA_PIN_ENABLE>;
			};
			kb_row5 {
				nvidia,pins = "kb_row5_pr5";
				nvidia,function = "kbc";
				nvidia,pull = <TEGRA_PIN_PULL_UP>;
				nvidia,tristate = <TEGRA_PIN_ENABLE>;
				nvidia,enable-input = <TEGRA_PIN_ENABLE>;
			};
			kb_row6 {
				nvidia,pins = "kb_row6_pr6";
				nvidia,function = "kbc";
				nvidia,pull = <TEGRA_PIN_PULL_DOWN>;
				nvidia,tristate = <TEGRA_PIN_DISABLE>;
				nvidia,enable-input = <TEGRA_PIN_ENABLE>;
			};
			kb_r8_c3 {
				nvidia,pins = "kb_row8_ps0",
						"kb_col3_pq3";
				nvidia,function = "kbc";
				nvidia,pull = <TEGRA_PIN_PULL_UP>;
				nvidia,tristate = <TEGRA_PIN_DISABLE>;
				nvidia,enable-input = <TEGRA_PIN_ENABLE>;
			};

			/* VI pinmux */
			cam_mclk {
				nvidia,pins = "cam_mclk_pcc0",
						"pbb0";
				nvidia,function = "vi_alt3";
				nvidia,pull = <TEGRA_PIN_PULL_NONE>;
				nvidia,tristate = <TEGRA_PIN_DISABLE>;
				nvidia,enable-input = <TEGRA_PIN_DISABLE>;
			};

			/* AUD pinmux */
			gpio_x4_aud {
				nvidia,pins = "gpio_x4_aud_px4";
				nvidia,function = "rsvd1";
				nvidia,pull = <TEGRA_PIN_PULL_NONE>;
				nvidia,tristate = <TEGRA_PIN_DISABLE>;
				nvidia,enable-input = <TEGRA_PIN_DISABLE>;
			};
			gpio_x1_aud {
				nvidia,pins = "gpio_x1_aud_px1";
				nvidia,function = "rsvd2";
				nvidia,pull = <TEGRA_PIN_PULL_UP>;
				nvidia,tristate = <TEGRA_PIN_DISABLE>;
				nvidia,enable-input = <TEGRA_PIN_ENABLE>;
			};
			gpio_x3_aud {
				nvidia,pins = "gpio_x3_aud_px3";
				nvidia,function = "rsvd3";
				nvidia,pull = <TEGRA_PIN_PULL_UP>;
				nvidia,tristate = <TEGRA_PIN_DISABLE>;
				nvidia,enable-input = <TEGRA_PIN_ENABLE>;
			};
			gpio_x6_aud {
				nvidia,pins = "gpio_x6_aud_px6";
				nvidia,function = "rsvd4";
				nvidia,pull = <TEGRA_PIN_PULL_UP>;
				nvidia,tristate = <TEGRA_PIN_DISABLE>;
				nvidia,enable-input = <TEGRA_PIN_ENABLE>;
			};

			usb_vbus {
				nvidia,pins = "usb_vbus_en0_pn4",
						"usb_vbus_en1_pn5";
				nvidia,function = "rsvd2";
				nvidia,pull = <TEGRA_PIN_PULL_DOWN>;
				nvidia,tristate = <TEGRA_PIN_ENABLE>;
				nvidia,enable-input = <TEGRA_PIN_DISABLE>;
			};

			/* GPIO power/drive control */
			drive_sdio1 {
				nvidia,pins = "drive_sdio1";
				nvidia,high-speed-mode = <TEGRA_PIN_ENABLE>;
				nvidia,schmitt = <TEGRA_PIN_DISABLE>;
				nvidia,pull-down-strength = <36>;
				nvidia,pull-up-strength = <20>;
				nvidia,slew-rate-rising = <TEGRA_PIN_SLEW_RATE_SLOW>;
				nvidia,slew-rate-falling = <TEGRA_PIN_SLEW_RATE_SLOW>;
			};
			drive_sdio3 {
				nvidia,pins = "drive_sdio3";
				nvidia,high-speed-mode = <TEGRA_PIN_ENABLE>;
				nvidia,schmitt = <TEGRA_PIN_DISABLE>;
				nvidia,pull-down-strength = <22>;
				nvidia,pull-up-strength = <36>;
				nvidia,slew-rate-rising = <TEGRA_PIN_SLEW_RATE_FASTEST>;
				nvidia,slew-rate-falling = <TEGRA_PIN_SLEW_RATE_FASTEST>;
			};
			drive_gma {
				nvidia,pins = "drive_gma";
				nvidia,high-speed-mode = <TEGRA_PIN_ENABLE>;
				nvidia,schmitt = <TEGRA_PIN_DISABLE>;
				nvidia,pull-down-strength = <2>;
				nvidia,pull-up-strength = <2>;
				nvidia,slew-rate-rising = <TEGRA_PIN_SLEW_RATE_FASTEST>;
				nvidia,slew-rate-falling = <TEGRA_PIN_SLEW_RATE_FASTEST>;
			};
		};
	};

	serial@70006040 {
		/* GPS */
	};

	serial@70006200 {
		compatible = "nvidia,tegra114-hsuart", "nvidia,tegra30-hsuart";
		/delete-property/ reg-shift;
		status = "okay";

		nvidia,adjust-baud-rates = <0 9600 100>,
					   <9600 115200 200>,
					   <1000000 4000000 136>;

		bluetooth {
			compatible = "brcm,bcm4334-bt";
			max-speed = <4000000>;

			clocks = <&tegra_pmc TEGRA_PMC_CLK_BLINK>;
			clock-names = "txco";

			interrupt-parent = <&gpio>;
			interrupts = <TEGRA_GPIO(U, 6) IRQ_TYPE_EDGE_RISING>;
			interrupt-names = "host-wakeup";

			device-wakeup-gpios = <&gpio TEGRA_GPIO(EE, 1) GPIO_ACTIVE_HIGH>;
			shutdown-gpios = <&gpio TEGRA_GPIO(Q, 7) GPIO_ACTIVE_HIGH>;

			vbat-supply = <&vdd_3v3_com>;
			vddio-supply = <&vdd_1v8_vio>;
		};
	};

	serial@70006300 {
		status = "okay";
	};

	pwm@7000a000 {
		status = "okay";
	};

	i2c@7000c000 {
		status = "okay";
		clock-frequency = <100000>;

		magnetometer@c {
			compatible = "asahi-kasei,ak09911";
			reg = <0xc>;

			/* no DRDY (polling) */

			vdd-supply = <&vdd_3v3_sys>;
			vid-supply = <&vdd_1v8_vio>;

			mount-matrix =  "0",  "1", "0",
					"1",  "0", "0",
					"0",  "0","-1";
		};

		rt5639: audio-codec@1c {
			compatible = "realtek,rt5639";
			reg = <0x1c>;

			realtek,ldo1-en-gpios =
				<&gpio TEGRA_GPIO(V, 3) GPIO_ACTIVE_HIGH>;
		};

		temp_sensor: temperature-sensor@4c {
			compatible = "onnn,nct1008";
			reg = <0x4c>;

			interrupt-parent = <&gpio>;
			interrupts = <TEGRA_GPIO(O, 4) IRQ_TYPE_EDGE_FALLING>;

			vcc-supply = <&vdd_3v3_sys>;
			#thermal-sensor-cells = <1>;
		};

		motion-tracker@68 {
			compatible = "invensense,mpu6500";
			reg = <0x68>;

			interrupt-parent = <&gpio>;
			interrupts = <TEGRA_GPIO(R, 3) IRQ_TYPE_LEVEL_HIGH>;

			vdd-supply = <&vdd_1v8_vio>;
			vddio-supply = <&vdd_1v8_vio>;

			mount-matrix =  "0", "-1", "0",
					"1",  "0", "0",
					"0",  "0", "1";
		};
	};

	gen2_i2c: i2c@7000c400 {
		status = "okay";
		clock-frequency = <100000>;

		/* Nuvoton NPCE69ALA0DX embedded controller */
		embedded-controller@15 {
			compatible = "asus,ec-pad";
			reg = <0x15>;

			interrupt-parent = <&gpio>;
			interrupts = <TEGRA_GPIO(Q, 5) IRQ_TYPE_LEVEL_LOW>;

			request-gpio = <&gpio TEGRA_GPIO(Q, 2) GPIO_ACTIVE_LOW>;

			asus,dockram = <&dockram>;
			asus,clear-factory-mode;

			pinctrl-names = "default";
			pinctrl-0 = <&asus_pad_ec_default>;

			battery {
				compatible = "asus,ec-battery";
				monitored-battery = <&pad_battery>;
			};

			charger {
				compatible = "asus,ec-charger";
				monitored-battery = <&pad_battery>;
			};

			led {
				compatible = "asus,ec-led";
			};
		};

		dockram: dockram@17 {
			compatible = "asus,dockram";
			reg = <0x17>;
		};

		power-sensor@44 {
			compatible = "ti,ina230";
			reg = <0x44>;
		};
	};

	i2c-dock {
		compatible = "i2c-hotplug-gpio";

		#address-cells = <1>;
		#size-cells = <0>;

		interrupts-extended = <&gpio TEGRA_GPIO(O, 0) IRQ_TYPE_EDGE_BOTH>;
		detect-gpios = <&gpio TEGRA_GPIO(O, 0) GPIO_ACTIVE_LOW>;

		i2c-parent = <&gen2_i2c>;

		touchpad@14 {
			compatible = "elan,ekth3000";
			reg = <0x14>;

			interrupt-parent = <&gpio>;
			interrupts = <TEGRA_GPIO(W, 2) IRQ_TYPE_LEVEL_LOW>;

			vcc-supply = <&vdd_3v3_sys>;
		};

		keyboard@16 {
			compatible = "hid-over-i2c";
			reg = <0x16>;

			hid-descr-addr = <0x0071>;

			interrupt-parent = <&gpio>;
			interrupts = <TEGRA_GPIO(J, 0) IRQ_TYPE_LEVEL_LOW>;

			vdd-supply = <&vdd_3v3_sys>;
			vddl-supply = <&vdd_1v8_vio>;
		};

		/* Nuvoton NPCE69ALA0DX embedded controller */
		embedded-controller@19 {
			compatible = "asus,power-ec";
			reg = <0x19>;

			asus,dockram = <&dockram>;
			monitored-battery = <&dock_battery>;
		};
	};

	i2c@7000c500 {
		status = "okay";
		clock-frequency = <400000>;

		light-sensor@1c {
			compatible = "dynaimage,al3320a";
			reg = <0x1c>;

			vdd-supply = <&vdd_1v8_vio>;
		};
	};

	hdmi_ddc: i2c@7000c700 {
		status = "okay";
		clock-frequency = <10000>;
	};

	i2c@7000d000 {
		status = "okay";
		clock-frequency = <400000>;

		palmas: pmic@58 {
			compatible = "ti,tps65913", "ti,palmas";
			reg = <0x58>;
			interrupts = <GIC_SPI 86 IRQ_TYPE_LEVEL_HIGH>;

			#interrupt-cells = <2>;
			interrupt-controller;

			ti,system-power-controller;

			palmas_extcon: extcon {
				compatible = "ti,palmas-usb-vid";
				ti,enable-vbus-detection;
				ti,enable-id-detection;
			};

			palmas_clk32kg@0 {
				compatible = "ti,palmas-clk32kg";
				#clock-cells = <0>;
			};

			palmas_gpio: gpio {
				compatible = "ti,palmas-gpio";
				gpio-controller;
				#gpio-cells = <2>;
			};

			pinmux {
				compatible = "ti,tps65913-pinctrl";
				ti,palmas-enable-dvfs1;

				pinctrl-names = "default";
				pinctrl-0 = <&palmas_default>;

				palmas_default: pinmux {
					pin_powergood {
						pins = "powergood";
						function = "powergood";
					};

					pin_vac {
						pins = "vac";
						function = "vac";
					};

					pin_gpio0 {
						pins = "gpio0";
						function = "gpio";
					};

					pin_gpio1 {
						pins = "gpio1";
						function = "gpio";
					};

					pin_gpio2 {
						pins = "gpio2";
						function = "gpio";
					};

					pin_gpio3 {
						pins = "gpio3";
						function = "gpio";
					};

					pin_gpio4 {
						pins = "gpio4";
						function = "gpio";
					};

					pin_gpio5 {
						pins = "gpio5";
						function = "gpio";
					};

					pin_gpio6 {
						pins = "gpio6";
						function = "gpio";
					};

					pin_gpio7 {
						pins = "gpio7";
						function = "gpio";
					};
				};
			};

			pmic {
				compatible = "ti,tps65913-pmic", "ti,palmas-pmic";

				ldo1-in-supply = <&vddio_ddr>;
				ldo2-in-supply = <&vddio_ddr>;
				ldo4-in-supply = <&vdd_1v8_vio>;
				ldo5-in-supply = <&vcore_emmc>;
				ldo6-in-supply = <&vcore_emmc>;
				ldo7-in-supply = <&vcore_emmc>;
				ldo9-in-supply = <&vcore_emmc>;
				ldoln-in-supply = <&vdd_smps10_out2>;

				regulators {
					vdd_cpu: smps123 {
						regulator-name = "vdd_cpu";
						regulator-min-microvolt = <900000>;
						regulator-max-microvolt = <1350000>;
						regulator-always-on;
						regulator-boot-on;
						ti,roof-floor = <1>;
						ti,mode-sleep = <3>;
					};

					vdd_core: smps45 {
						regulator-name = "vdd_core";
						regulator-min-microvolt = <900000>;
						regulator-max-microvolt = <1400000>;
						regulator-always-on;
						regulator-boot-on;
						ti,roof-floor = <3>;
					};

					smps6 {
						regulator-name = "va_lcd_hv";
						regulator-min-microvolt = <1000000>;
						regulator-max-microvolt = <1000000>;
						regulator-always-on;
						regulator-boot-on;
					};

					vddio_ddr: smps7 {
						regulator-name = "vddio_ddr";
						regulator-min-microvolt = <1350000>;
						regulator-max-microvolt = <1350000>;
						regulator-always-on;
						regulator-boot-on;
					};

					vdd_1v8_vio: smps8 {
						regulator-name = "vdd_1v8_gen";
						regulator-min-microvolt = <1800000>;
						regulator-max-microvolt = <1800000>;
						regulator-always-on;
						regulator-boot-on;
					};

					vcore_emmc: smps9 {
						regulator-name = "vdd_sdmmc";
						regulator-min-microvolt = <2900000>;
						regulator-max-microvolt = <2900000>;
						regulator-boot-on;
					};

					smps10_out1 {
						regulator-name = "vd_smps10_out1";
						regulator-min-microvolt = <5000000>;
						regulator-max-microvolt = <5000000>;
						regulator-always-on;
						regulator-boot-on;
					};

					vdd_smps10_out2: smps10_out2 {
						regulator-name = "vd_smps10_out2";
						regulator-min-microvolt = <5000000>;
						regulator-max-microvolt = <5000000>;
						regulator-always-on;
						regulator-boot-on;
					};

					avdd_hdmi_pll: ldo1 {
						regulator-name = "avdd_hdmi_pll";
						regulator-min-microvolt = <1050000>;
						regulator-max-microvolt = <1050000>;
						regulator-always-on;
						regulator-boot-on;
						ti,roof-floor = <3>;
					};

					avdd_dsi_csi: ldo2 {
						regulator-name = "avdd_dsi_csi";
						regulator-min-microvolt = <1200000>;
						regulator-max-microvolt = <1200000>;
						regulator-boot-on;
					};

					ldo3 {
						regulator-name = "vpp_fuse";
						regulator-min-microvolt = <1800000>;
						regulator-max-microvolt = <1800000>;
					};

					ldo4 {
						regulator-name = "vdd_1v2_cam";
						regulator-min-microvolt = <1200000>;
						regulator-max-microvolt = <1200000>;
					};

					ldo5 {
						regulator-name = "avdd_cam2";
						regulator-min-microvolt = <2800000>;
						regulator-max-microvolt = <2800000>;
					};

					ldo6 {
						regulator-name = "vdd_dev";
						regulator-min-microvolt = <2850000>;
						regulator-max-microvolt = <2850000>;
					};

					ldo7 {
						regulator-name = "avdd_2v8_cam";
						regulator-min-microvolt = <2800000>;
						regulator-max-microvolt = <2800000>;
					};

					ldo8 {
						regulator-name = "vdd_rtc";
						regulator-min-microvolt = <950000>;
						regulator-max-microvolt = <950000>;
						regulator-always-on;
						regulator-boot-on;
						ti,enable-ldo8-tracking;
					};

					vddio_usd: ldo9 {
						regulator-name = "vddio_sdmmc";
						regulator-min-microvolt = <1800000>;
						regulator-max-microvolt = <2900000>;
					};

					avdd_hdmi: ldoln {
						regulator-name = "avdd_hdmi";
						regulator-min-microvolt = <3300000>;
						regulator-max-microvolt = <3300000>;
						regulator-boot-on;
					};

					avdd_usb: ldousb {
						regulator-name = "avdd_usb";
						regulator-min-microvolt = <3300000>;
						regulator-max-microvolt = <3300000>;
						regulator-boot-on;
					};
				};
			};

			rtc {
				compatible = "ti,palmas-rtc";
				interrupt-parent = <&palmas>;
				interrupts = <8 IRQ_TYPE_NONE>;
			};
		};
	};

	spi@7000d400 {
		status = "okay";
		spi-max-frequency = <25000000>;

		touchscreen@0 {
			compatible = "raydium,rm31080";
			reg = <0x0>;

			spi-max-frequency = <8000000>;

			nvidia,rx-clk-tap-delay = <0>;
			nvidia,tx-clk-tap-delay = <16>;

			interrupt-parent = <&gpio>;
			interrupts = <TEGRA_GPIO(K, 2) IRQ_TYPE_EDGE_RISING>;

			reset-gpios = <&gpio TEGRA_GPIO(K, 4) GPIO_ACTIVE_LOW>;

			vdd-supply = <&vdd_3v3_touch>;
			vio-supply = <&vdd_1v8_touch>;

			clocks = <&tegra_pmc TEGRA_PMC_CLK_OUT_2>;
			clock-names = "ref_clk";

			assigned-clocks = <&tegra_car TEGRA114_CLK_EXTERN2>,
					  <&tegra_pmc TEGRA_PMC_CLK_OUT_2>;
			assigned-clock-rates = <40800000>;

			assigned-clock-parents = <&tegra_car TEGRA114_CLK_PLL_P>,
						 <&tegra_car TEGRA114_CLK_EXTERN2>;
		};
	};

	pmc@7000e400 {
		status = "okay";
		nvidia,invert-interrupt;
		nvidia,suspend-mode = <2>;
		nvidia,cpu-pwr-good-time = <300>;
		nvidia,cpu-pwr-off-time = <300>;
		nvidia,core-pwr-good-time = <641 3845>;
		nvidia,core-pwr-off-time = <2000>;
		nvidia,core-power-req-active-high;
		nvidia,sys-clock-req-active-high;

		/* Clear DEV_ON bit in DEV_CTRL register of TPS65913 PMIC  */
		i2c-thermtrip {
			nvidia,i2c-controller-id = <4>;
			nvidia,bus-addr = <0x58>;
			nvidia,reg-addr = <0xA0>;
			nvidia,reg-data = <0x00>;
		};
	};

	hda@70030000 {
		status = "okay";
	};

	ahub@70080000 {
		/* HIFI CODEC */
		i2s@70080400 {		/* i2s1 */
			status = "okay";
		};

		/* BT SCO */
		i2s@70080600 {		/* i2s3 */
			status = "okay";
		};
	};

	brcm_wifi_pwrseq: pwrseq-wifi {
		compatible = "mmc-pwrseq-simple";

		clocks = <&tegra_pmc TEGRA_PMC_CLK_BLINK>;
		clock-names = "ext_clock";

		reset-gpios = <&gpio TEGRA_GPIO(X, 7) GPIO_ACTIVE_LOW>;
		post-power-on-delay-ms = <300>;
		power-off-delay-us = <300>;
	};

	sdmmc1: mmc@78000000 {
		status = "okay";

		#address-cells = <1>;
		#size-cells = <0>;

		assigned-clocks = <&tegra_car TEGRA114_CLK_SDMMC1>;
		assigned-clock-parents = <&tegra_car TEGRA114_CLK_PLL_P>;
		assigned-clock-rates = <82000000>;

		max-frequency = <82000000>;
		sd-uhs-sdr104;

		keep-power-in-suspend;
		bus-width = <4>;
		non-removable;

		power-gpios = <&gpio TEGRA_GPIO(CC, 5) GPIO_ACTIVE_HIGH>;

		nvidia,default-tap = <0x2>;
		nvidia,default-trim = <0x2>;

		mmc-pwrseq = <&brcm_wifi_pwrseq>;
		vmmc-supply = <&vdd_3v3_com>;
		vqmmc-supply = <&vdd_1v8_vio>;

		wifi@1 {
			compatible = "brcm,bcm4329-fmac";
			reg = <1>;

			interrupt-parent = <&gpio>;
			interrupts = <TEGRA_GPIO(U, 5) IRQ_TYPE_LEVEL_HIGH>;
			interrupt-names = "host-wake";
		};
	};

	sdmmc3: mmc@78000400 {
		status = "okay";

		bus-width = <4>;
		cd-gpios = <&gpio TEGRA_GPIO(V, 2) GPIO_ACTIVE_LOW>;

		nvidia,default-tap = <0x3>;
		nvidia,default-trim = <0x3>;

		vmmc-supply = <&vdd_2v9_usd>;
		vqmmc-supply = <&vddio_usd>;
	};

	sdmmc4: mmc@78000600 {
		status = "okay";
		bus-width = <8>;

		non-removable;
		mmc-ddr-1_8v;

		vmmc-supply = <&vcore_emmc>;
		vqmmc-supply = <&vdd_1v8_vio>;
	};

	/* Peripheral USB via ASUS connector */
	usb@7d000000 {
		compatible = "nvidia,tegra114-udc";
		status = "okay";
		dr_mode = "peripheral";
	};

	usb-phy@7d000000 {
		status = "okay";
		dr_mode = "peripheral";
		vbus-supply = <&avdd_usb>;
	};

	/* Host USB via dock */
	usb@7d008000 {
		status = "okay";
	};

	usb-phy@7d008000 {
		status = "okay";
		vbus-supply = <&vdd_5v0_sys>;
	};

	backlight: backlight {
		compatible = "pwm-backlight";

		enable-gpios = <&gpio TEGRA_GPIO(H, 2) GPIO_ACTIVE_HIGH>;
		power-supply = <&vdd_5v0_sys>;
		pwms = <&pwm 1 1000000>;

		brightness-levels = <1 255>;
		num-interpolated-steps = <254>;
		default-brightness-level = <224>;
	};

	pad_battery: battery-pad {
		compatible = "simple-battery";
		device-chemistry = "lithium-ion-polymer";
		charge-full-design-microamp-hours = <8150000>;
		energy-full-design-microwatt-hours = <31000000>;
		operating-range-celsius = <0 45>;
	};

	dock_battery: battery-dock {
		compatible = "simple-battery";
		device-chemistry = "lithium-ion-polymer";
		charge-full-design-microamp-hours = <4200000>;
		energy-full-design-microwatt-hours = <16000000>;
		operating-range-celsius = <0 45>;
	};

	/* PMIC has a built-in 32KHz oscillator which is used by PMC */
	clk32k_in: clock-32k {
		compatible = "fixed-clock";
		#clock-cells = <0>;
		clock-frequency = <32768>;
		clock-output-names = "pmic-oscillator";
	};

	extcon-keys {
		compatible = "gpio-keys";

		switch-hall-sensor {
			label = "Hall Effect Sensor";
			gpios = <&gpio TEGRA_GPIO(O, 5) GPIO_ACTIVE_LOW>;
			linux,input-type = <EV_SW>;
			linux,code = <SW_LID>;
			linux,can-disable;
			wakeup-source;
		};

		switch-lineout-detect {
			label = "Audio dock line-out detect";
			gpios = <&gpio TEGRA_GPIO(X, 5) GPIO_ACTIVE_LOW>;
			linux,input-type = <EV_SW>;
			linux,code = <SW_LINEOUT_INSERT>;
			debounce-interval = <10>;
		};
	};

	gpio-keys {
		compatible = "gpio-keys";

		key-power {
			label = "Power";
			gpios = <&gpio TEGRA_GPIO(Q, 0) GPIO_ACTIVE_LOW>;
			linux,code = <KEY_POWER>;
			debounce-interval = <10>;
			wakeup-source;
		};

		key-volume-down {
			label = "Volume Down";
			gpios = <&gpio TEGRA_GPIO(R, 1) GPIO_ACTIVE_LOW>;
			linux,code = <KEY_VOLUMEDOWN>;
			debounce-interval = <10>;
		};

		key-volume-up {
			label = "Volume Up";
			gpios = <&gpio TEGRA_GPIO(R, 2) GPIO_ACTIVE_LOW>;
			linux,code = <KEY_VOLUMEUP>;
			debounce-interval = <10>;
		};
	};

	sound {
		compatible = "asus,tegra-audio-rt5639-tf701t",
			     "nvidia,tegra-audio-rt5640";
		nvidia,model = "Asus Transformer Pad TF701T RT5639";

		nvidia,audio-routing =
			"Headphones", "HPOR",
			"Headphones", "HPOL",
			"Speakers", "SPORP",
			"Speakers", "SPORN",
			"Speakers", "SPOLP",
			"Speakers", "SPOLN",
			"IN1P", "Mic Jack",
			"IN1N", "Mic Jack",
			"DMIC1", "Int Mic",
			"DMIC2", "Int Mic";

		nvidia,i2s-controller = <&tegra_i2s1>;
		nvidia,audio-codec = <&rt5639>;

		nvidia,hp-det-gpios = <&gpio TEGRA_GPIO(R, 7) GPIO_ACTIVE_LOW>;

		clocks = <&tegra_car TEGRA114_CLK_PLL_A>,
			 <&tegra_car TEGRA114_CLK_PLL_A_OUT0>,
			 <&tegra_pmc TEGRA_PMC_CLK_OUT_1>;
		clock-names = "pll_a", "pll_a_out0", "mclk";

		assigned-clocks = <&tegra_car TEGRA114_CLK_EXTERN1>,
				  <&tegra_pmc TEGRA_PMC_CLK_OUT_1>;

		assigned-clock-parents = <&tegra_car TEGRA114_CLK_PLL_A_OUT0>,
					 <&tegra_car TEGRA114_CLK_EXTERN1>;
	};

	vdd_5v0_sys: regulator-5v0-sys {
		compatible = "regulator-fixed";
		regulator-name = "vdd_5v0_sys";
		regulator-min-microvolt = <5000000>;
		regulator-max-microvolt = <5000000>;
		regulator-always-on;
		regulator-boot-on;
	};

	vdd_3v3_sys: regulator-3v3-sys {
		compatible = "regulator-fixed";
		regulator-name = "vdd_3v3_sys";
		regulator-min-microvolt = <3300000>;
		regulator-max-microvolt = <3300000>;
		regulator-always-on;
		regulator-boot-on;
	};

	hdmi_5v0_sys: regulator-hdmi {
		compatible = "regulator-fixed";
		regulator-name = "vdd_5v0_hdmi";
		regulator-min-microvolt = <5000000>;
		regulator-max-microvolt = <5000000>;
		regulator-boot-on;
		gpio = <&gpio TEGRA_GPIO(P, 2) GPIO_ACTIVE_HIGH>;
		enable-active-high;
		vin-supply = <&vdd_5v0_sys>;
	};

	vdd_3v3_com: regulator-com {
		compatible = "regulator-fixed";
		regulator-name = "vdd_3v3_com";
		regulator-min-microvolt = <3300000>;
		regulator-max-microvolt = <3300000>;
		regulator-always-on;
		regulator-boot-on;
		gpio = <&gpio TEGRA_GPIO(U, 1) GPIO_ACTIVE_HIGH>;
		enable-active-high;
		vin-supply = <&vdd_3v3_sys>;
	};

	vdd_1v8_lcd: regulator-vdd-lcd {
		compatible = "regulator-fixed";
		regulator-name = "dvdd_1v8_lcd";
		regulator-min-microvolt = <1800000>;
		regulator-max-microvolt = <1800000>;
		regulator-boot-on;
		gpio = <&palmas_gpio 4 GPIO_ACTIVE_HIGH>;
		enable-active-high;
		vin-supply = <&vdd_1v8_vio>;
	};

	vdd_2v9_usd: regulator-vdd-usd {
		compatible = "regulator-fixed";
		regulator-name = "vdd_sd_slot";
		regulator-min-microvolt = <2900000>;
		regulator-max-microvolt = <2900000>;
		regulator-boot-on;
		gpio = <&gpio TEGRA_GPIO(K, 1) GPIO_ACTIVE_HIGH>;
		enable-active-high;
		vin-supply = <&vcore_emmc>;
	};

	vdd_3v3_touch: regulator-touch-pwr {
		compatible = "regulator-fixed";
		regulator-name = "vdd_3v3_touch";
		regulator-min-microvolt = <3300000>;
		regulator-max-microvolt = <3300000>;
		regulator-boot-on;
		gpio = <&gpio TEGRA_GPIO(H, 0) GPIO_ACTIVE_HIGH>;
		enable-active-high;
		vin-supply = <&vdd_3v3_sys>;
	};

	vdd_1v8_touch: regulator-touch-vio {
		compatible = "regulator-fixed";
		regulator-name = "vdd_1v8_touch";
		regulator-min-microvolt = <1800000>;
		regulator-max-microvolt = <1800000>;
		regulator-boot-on;
		gpio = <&gpio TEGRA_GPIO(H, 4) GPIO_ACTIVE_HIGH>;
		enable-active-high;
		vin-supply = <&vdd_3v3_sys>;
	};

	vdd_1v8_cam: regulator-cam-vio {
		compatible = "regulator-fixed";
		regulator-name = "vdd_1v8_cam";
		regulator-min-microvolt = <1800000>;
		regulator-max-microvolt = <1800000>;
		regulator-boot-on;
		gpio = <&palmas_gpio 6 GPIO_ACTIVE_HIGH>;
		enable-active-high;
		vin-supply = <&vdd_1v8_vio>;
	};

	vdd_1v2_xusb: regulator-xusb-vio {
		compatible = "regulator-fixed";
		regulator-name = "avddio_1v2_xusb";
		regulator-min-microvolt = <1200000>;
		regulator-max-microvolt = <1200000>;
		regulator-boot-on;
		gpio = <&palmas_gpio 3 GPIO_ACTIVE_HIGH>;
		enable-active-high;
	};

	vdd_3v3_xusb: regulator-xusb-vdd {
		compatible = "regulator-fixed";
		regulator-name = "hvdd_3v3_xusb";
		regulator-min-microvolt = <3300000>;
		regulator-max-microvolt = <3300000>;
		regulator-boot-on;
		gpio = <&palmas_gpio 1 GPIO_ACTIVE_HIGH>;
		enable-active-high;
	};
};
